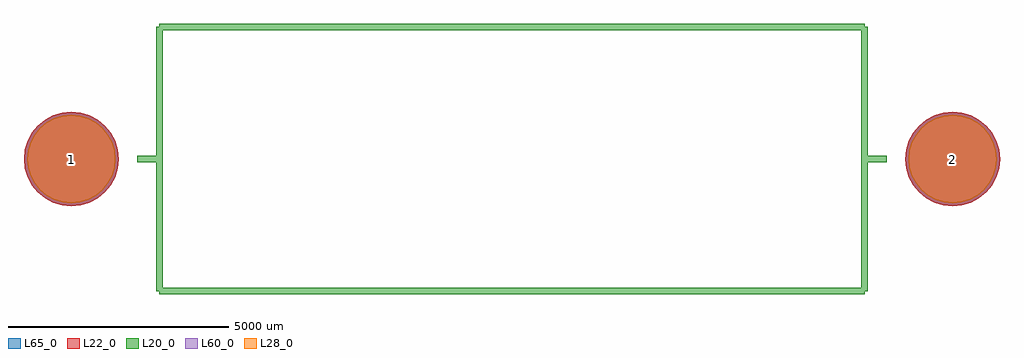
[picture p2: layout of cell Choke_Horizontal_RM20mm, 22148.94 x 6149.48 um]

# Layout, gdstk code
import gdstk
lib = gdstk.Library(unit=1e-6, precision=1e-09)
def P(c, l, *ps):  # polygons
    for p in ps: c.add(gdstk.Polygon(p, *l))
L20_0 = (20, 0)
L22_0 = (22, 0)
L28_0 = (28, 0)
L60_0 = (60, 0)
L65_0 = (65, 0)

choke_horizontal_rm20mm = lib.new_cell('Choke_Horizontal_RM20mm')
P(choke_horizontal_rm20mm, L22_0, [(11074.47,0),(11053.824,209.623),(10992.679,411.19),(10893.386,596.955),(10759.759,759.779),(10596.935,893.406),(10411.17,992.699),(10209.603,1053.844),(9999.98,1074.49),(9790.357,1053.844),(9588.79,992.699),(9403.025,893.406),(9240.201,759.779),(9106.574,596.955),(9007.281,411.19),(8946.136,209.623),(8925.49,0),(8946.136,-209.623),(9007.281,-411.19),(9106.574,-596.955),(9240.201,-759.779),(9403.025,-893.406),(9588.79,-992.699),(9790.357,-1053.844),(9999.98,-1074.49),(10209.603,-1053.844),(10411.17,-992.699),(10596.935,-893.406),(10759.759,-759.779),(10893.386,-596.955),(10992.679,-411.19),(11053.824,-209.623)],
  [(-8925.49,0),(-8946.136,209.623),(-9007.281,411.19),(-9106.574,596.955),(-9240.201,759.779),(-9403.025,893.406),(-9588.79,992.699),(-9790.357,1053.844),(-9999.98,1074.49),(-10209.603,1053.844),(-10411.17,992.699),(-10596.935,893.406),(-10759.759,759.779),(-10893.386,596.955),(-10992.679,411.19),(-11053.824,209.623),(-11074.47,0),(-11053.824,-209.623),(-10992.679,-411.19),(-10893.386,-596.955),(-10759.759,-759.779),(-10596.935,-893.406),(-10411.17,-992.699),(-10209.603,-1053.844),(-9999.98,-1074.49),(-9790.357,-1053.844),(-9588.79,-992.699),(-9403.025,-893.406),(-9240.201,-759.779),(-9106.574,-596.955),(-9007.281,-411.19),(-8946.136,-209.623)])
P(choke_horizontal_rm20mm, L28_0, [(10999.47,0),(10980.265,194.991),(10923.388,382.488),(10831.026,555.287),(10706.726,706.746),(10555.267,831.046),(10382.468,923.408),(10194.971,980.285),(9999.98,999.49),(9804.989,980.285),(9617.492,923.408),(9444.693,831.046),(9293.234,706.746),(9168.934,555.287),(9076.572,382.488),(9019.695,194.991),(9000.49,0),(9019.695,-194.991),(9076.572,-382.488),(9168.934,-555.287),(9293.234,-706.746),(9444.693,-831.046),(9617.492,-923.408),(9804.989,-980.285),(9999.98,-999.49),(10194.971,-980.285),(10382.468,-923.408),(10555.267,-831.046),(10706.726,-706.746),(10831.026,-555.287),(10923.388,-382.488),(10980.265,-194.991)],
  [(-9000.49,0),(-9019.695,194.991),(-9076.572,382.488),(-9168.934,555.287),(-9293.234,706.746),(-9444.693,831.046),(-9617.492,923.408),(-9804.989,980.285),(-9999.98,999.49),(-10194.971,980.285),(-10382.468,923.408),(-10555.267,831.046),(-10706.726,706.746),(-10831.026,555.287),(-10923.388,382.488),(-10980.265,194.991),(-10999.47,0),(-10980.265,-194.991),(-10923.388,-382.488),(-10831.026,-555.287),(-10706.726,-706.746),(-10555.267,-831.046),(-10382.468,-923.408),(-10194.971,-980.285),(-9999.98,-999.49),(-9804.989,-980.285),(-9617.492,-923.408),(-9444.693,-831.046),(-9293.234,-706.746),(-9168.934,-555.287),(-9076.572,-382.488),(-9019.695,-194.991)])
P(choke_horizontal_rm20mm, L60_0, [(10999.47,0),(10980.265,194.991),(10923.388,382.488),(10831.026,555.287),(10706.726,706.746),(10555.267,831.046),(10382.468,923.408),(10194.971,980.285),(9999.98,999.49),(9804.989,980.285),(9617.492,923.408),(9444.693,831.046),(9293.234,706.746),(9168.934,555.287),(9076.572,382.488),(9019.695,194.991),(9000.49,0),(9019.695,-194.991),(9076.572,-382.488),(9168.934,-555.287),(9293.234,-706.746),(9444.693,-831.046),(9617.492,-923.408),(9804.989,-980.285),(9999.98,-999.49),(10194.971,-980.285),(10382.468,-923.408),(10555.267,-831.046),(10706.726,-706.746),(10831.026,-555.287),(10923.388,-382.488),(10980.265,-194.991)],
  [(-9000.49,0),(-9019.695,194.991),(-9076.572,382.488),(-9168.934,555.287),(-9293.234,706.746),(-9444.693,831.046),(-9617.492,923.408),(-9804.989,980.285),(-9999.98,999.49),(-10194.971,980.285),(-10382.468,923.408),(-10555.267,831.046),(-10706.726,706.746),(-10831.026,555.287),(-10923.388,382.488),(-10980.265,194.991),(-10999.47,0),(-10980.265,-194.991),(-10923.388,-382.488),(-10831.026,-555.287),(-10706.726,-706.746),(-10555.267,-831.046),(-10382.468,-923.408),(-10194.971,-980.285),(-9999.98,-999.49),(-9804.989,-980.285),(-9617.492,-923.408),(-9444.693,-831.046),(-9293.234,-706.746),(-9168.934,-555.287),(-9076.572,-382.488),(-9019.695,-194.991)])
P(choke_horizontal_rm20mm, L65_0, [(11074.47,0),(11053.824,209.623),(10992.679,411.19),(10893.386,596.955),(10759.759,759.779),(10596.935,893.406),(10411.17,992.699),(10209.603,1053.844),(9999.98,1074.49),(9790.357,1053.844),(9588.79,992.699),(9403.025,893.406),(9240.201,759.779),(9106.574,596.955),(9007.281,411.19),(8946.136,209.623),(8925.49,0),(8946.136,-209.623),(9007.281,-411.19),(9106.574,-596.955),(9240.201,-759.779),(9403.025,-893.406),(9588.79,-992.699),(9790.357,-1053.844),(9999.98,-1074.49),(10209.603,-1053.844),(10411.17,-992.699),(10596.935,-893.406),(10759.759,-759.779),(10893.386,-596.955),(10992.679,-411.19),(11053.824,-209.623)],
  [(-8925.49,0),(-8946.136,209.623),(-9007.281,411.19),(-9106.574,596.955),(-9240.201,759.779),(-9403.025,893.406),(-9588.79,992.699),(-9790.357,1053.844),(-9999.98,1074.49),(-10209.603,1053.844),(-10411.17,992.699),(-10596.935,893.406),(-10759.759,759.779),(-10893.386,596.955),(-10992.679,411.19),(-11053.824,209.623),(-11074.47,0),(-11053.824,-209.623),(-10992.679,-411.19),(-10893.386,-596.955),(-10759.759,-759.779),(-10596.935,-893.406),(-10411.17,-992.699),(-10209.603,-1053.844),(-9999.98,-1074.49),(-9790.357,-1053.844),(-9588.79,-992.699),(-9403.025,-893.406),(-9240.201,-759.779),(-9106.574,-596.955),(-9007.281,-411.19),(-8946.136,-209.623)])
choke_horizontal_rm20mm.add(gdstk.FlexPath([(8001,2999.74),(-8001,2999.74)], 149.998, ends="flush", simple_path=True, layer=20, datatype=0))  # L20_0
choke_horizontal_rm20mm.add(gdstk.FlexPath([(8001,-2999.74),(8001,2999.74)], 149.998, ends="flush", simple_path=True, layer=20, datatype=0))  # L20_0
choke_horizontal_rm20mm.add(gdstk.FlexPath([(-8001,-2999.74),(8001,-2999.74)], 149.998, ends="flush", simple_path=True, layer=20, datatype=0))  # L20_0
choke_horizontal_rm20mm.add(gdstk.FlexPath([(-8001,2999.74),(-8001,-2999.74)], 149.998, ends="flush", simple_path=True, layer=20, datatype=0))  # L20_0
choke_horizontal_rm20mm.add(gdstk.FlexPath([(-8001,0),(-8498.84,0)], 149.998, ends="flush", simple_path=True, layer=20, datatype=0))  # L20_0
choke_horizontal_rm20mm.add(gdstk.FlexPath([(8001,0),(8498.84,0)], 149.998, ends="flush", simple_path=True, layer=20, datatype=0))  # L20_0
choke_horizontal_rm20mm.add(gdstk.Label('2', (9999.98,0), layer=28, texttype=0))
choke_horizontal_rm20mm.add(gdstk.Label('1', (-9999.98,0), layer=28, texttype=0))
choke_horizontal_rm20mm.add(gdstk.Label('type', (0,-5001.26), layer=9, texttype=0))
choke_horizontal_rm20mm.add(gdstk.Label('devicename', (0,4500.88), layer=9, texttype=0))

lib.write_gds('Choke_Horizontal_RM20mm.gds')
